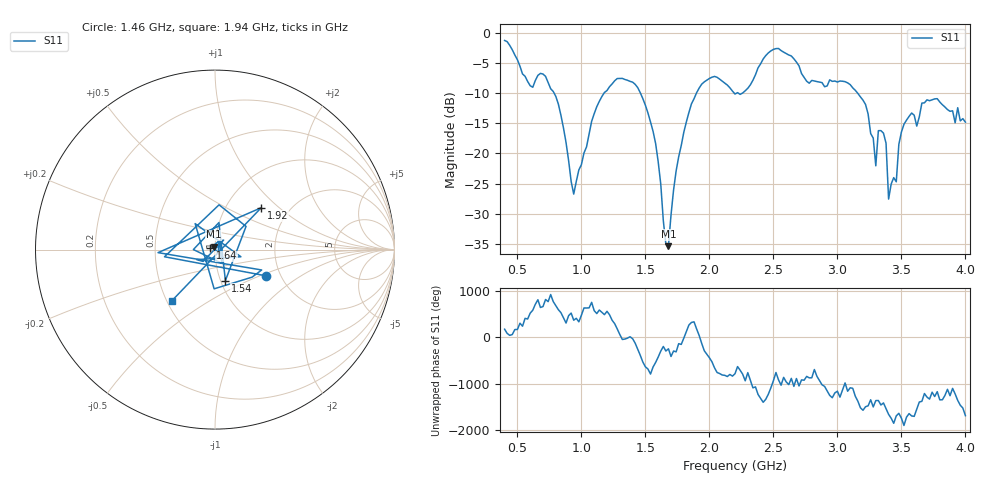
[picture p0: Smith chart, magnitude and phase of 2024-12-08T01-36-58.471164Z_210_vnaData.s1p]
!Created with skrf (http://scikit-rf.org).
# Hz S RI R 50.0
!freq ReS11 ImS11
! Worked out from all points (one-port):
!   181 points, 400 MHz to 4 GHz, reference 50 ohm
!   lowest |S11| = -35.4 dB at 1.68 GHz (marker M1), VSWR 1.03, Z = 49.3 + j1.54 ohm
!   |S11| at or under -10 dB: 786.3 MHz to 1.177 GHz (391 MHz wide, 39.8 % of centre); 1.461 GHz to 1.899 GHz (438.2 MHz wide, 26.1 % of centre); 3.157 GHz to end of sweep (the widest 3 of 5)
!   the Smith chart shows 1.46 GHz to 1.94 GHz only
!   S11 on the Smith chart (normalised r, x): 1.46 GHz: 1.68, -0.54; 1.54 GHz: 1.05, -0.38; 1.64 GHz: 0.95, +0.01; 1.92 GHz: 1.45, +0.77; 1.94 GHz: 0.53, -0.35
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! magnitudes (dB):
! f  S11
! 400 MHz  -1.3
! 600 MHz  -8.8
! 720 MHz  -7.2
! 860 MHz  -15.8
! 940 MHz  -26.7
! 1.12 GHz  -12.3
! 1.3 GHz  -7.6
! 1.46 GHz  -10.0
! 1.54 GHz  -14.8
! 1.6 GHz  -21.4
! 1.64 GHz  -31.1
! 1.68 GHz  -35.4
! 1.76 GHz  -20.6
! 1.92 GHz  -9.2
! 1.94 GHz  -8.5
! 2.2 GHz  -10.2
! 2.48 GHz  -3.0
! 2.66 GHz  -4.3
! 3.1 GHz  -8.6
! 3.22 GHz  -11.9
! 3.3 GHz  -22.1
! 3.32 GHz  -16.2
! 3.36 GHz  -16.6
! 3.38 GHz  -18.3
! 3.4 GHz  -27.6
! 3.56 GHz  -13.9
! 3.78 GHz  -10.9
! 4 GHz  -14.8
